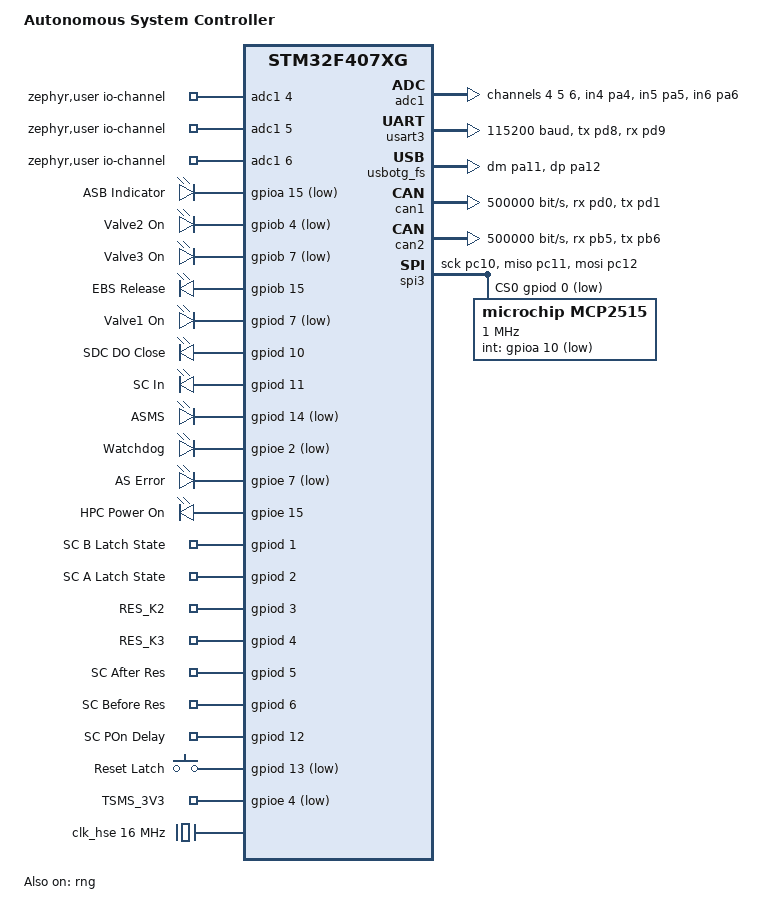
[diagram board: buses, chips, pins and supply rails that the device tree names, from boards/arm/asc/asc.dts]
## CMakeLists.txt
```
# SPDX-License-Identifier: Apache-2.0

cmake_minimum_required(VERSION 3.20.0)

set(BOARD_ROOT ${CMAKE_CURRENT_LIST_DIR})

list(APPEND ZEPHYR_EXTRA_MODULES ${CMAKE_CURRENT_SOURCE_DIR}/modules/libmicroros)

find_package(Zephyr REQUIRED HINTS $ENV{ZEPHYR_BASE})
project(asc)

target_sources(app PRIVATE src/main.c src/functions.c)
```

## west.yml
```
manifest:
  self:
    path: autonomous-system-controller

  remotes:
    - name: zephyrproject-rtos
      url-base: https://github.com/zephyrproject-rtos

  projects:
    - name: zephyr
      remote: zephyrproject-rtos
      revision: 3.2.0
      import: true
```

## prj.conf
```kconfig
CONFIG_GPIO=y
CONFIG_MICROROS=y

CONFIG_MAIN_STACK_SIZE=25000
CONFIG_MAIN_THREAD_PRIORITY=3

CONFIG_NEWLIB_LIBC=y
CONFIG_NEWLIB_LIBC_NANO=n
CONFIG_PTHREAD_IPC=n

CONFIG_POSIX_API=y
CONFIG_APP_LINK_WITH_POSIX_SUBSYS=y
CONFIG_POSIX_CLOCK=y

CONFIG_STDOUT_CONSOLE=y
CONFIG_SERIAL=y
CONFIG_UART_INTERRUPT_DRIVEN=y
CONFIG_UART_LINE_CTRL=y
CONFIG_RING_BUFFER=y


#CAN
CONFIG_POLL=y
CONFIG_CAN=y
CONFIG_CAN_INIT_PRIORITY=80
CONFIG_CAN_STM32=y
CONFIG_CAN_MCP2515=y

#ADC
CONFIG_ADC=y

#CPP for CAN MSG
CONFIG_CPLUSPLUS=y
```

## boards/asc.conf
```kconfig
CONFIG_USB_DEVICE_STACK=y
CONFIG_USB_DEVICE_PRODUCT="ASC"
CONFIG_LOG=y
CONFIG_USB_CDC_ACM=y
CONFIG_USB_DRIVER_LOG_LEVEL_ERR=y
CONFIG_USB_DEVICE_LOG_LEVEL_ERR=y
CONFIG_USB_CDC_ACM_RINGBUF_SIZE=2048

MICROROS_TRANSPORT_SERIAL_USB=y
```

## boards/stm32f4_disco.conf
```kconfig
CONFIG_USB_DEVICE_STACK=y
CONFIG_USB_DEVICE_PRODUCT="ASC"
CONFIG_LOG=y
CONFIG_USB_CDC_ACM=y
CONFIG_USB_DRIVER_LOG_LEVEL_ERR=y
CONFIG_USB_DEVICE_LOG_LEVEL_ERR=y
CONFIG_USB_CDC_ACM_RINGBUF_SIZE=2048

CONFIG_MICROROS_TRANSPORT_SERIAL_USB=y
```

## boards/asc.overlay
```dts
/ {
    aliases {
        uros-serial-port = &usart3;
    };
};

&usart3 {
    status = "okay";
};

zephyr_udc0: &usbotg_fs {
    status = "okay";
};

&zephyr_udc0 {
    cdc_acm_uart0: cdc_acm_uart0 {
            compatible = "zephyr,cdc-acm-uart";
            label = "CDC_ACM_0";
    };
};
```

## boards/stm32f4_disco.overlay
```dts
/ {
    aliases {
        uros-serial-port = &usart2;
    };
};

&usart2 {
    status = "okay";
};

zephyr_udc0: &usbotg_fs {
    status = "okay";
};

&zephyr_udc0 {
    cdc_acm_uart0: cdc_acm_uart0 {
            compatible = "zephyr,cdc-acm-uart";
            label = "CDC_ACM_0";
    };
};
```

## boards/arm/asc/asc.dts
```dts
/*
 * Copyright (c) 2017 Linaro Limited
 *
 * SPDX-License-Identifier: Apache-2.0
 */

/dts-v1/;
#include <st/f4/stm32f407Xg.dtsi>
#include <st/f4/stm32f407v(e-g)tx-pinctrl.dtsi>
#include <zephyr/dt-bindings/adc/adc.h>

/ {
	model = "Autonomous System Controller";
	compatible = "st,asc";

	zephyr,user {
        io-channels = <&adc1 4>, <&adc1 5>, <&adc1 6>;
    };

	chosen {
		zephyr,console = &usart3;
		zephyr,shell-uart = &usart3;
		zephyr,sram = &sram0;
		zephyr,flash = &flash0;
		zephyr,ccm = &ccm0;
	};

	leds {
		compatible = "gpio-leds";
		asb_indicator: asb_indicator {
			gpios = <&gpioa 15 GPIO_ACTIVE_LOW>;
			label = "ASB Indicator";
		};

		valve2_on: valve2_on {
			gpios = <&gpiob 4 GPIO_ACTIVE_LOW>;
			label = "Valve2 On";
		};

		valve3_on: valve3_on {
			gpios = <&gpiob 7 GPIO_ACTIVE_LOW>;
			label = "Valve3 On";
		};

		ebs_release_open: ebs_release_open {
			gpios = <&gpiob 15 GPIO_ACTIVE_HIGH>;
			label = "EBS Release";
		};

		valve1_on: valve1_on {
			gpios = <&gpiod 7 GPIO_ACTIVE_LOW>;
			label = "Valve1 On";
		};

		mcu_as_sdc_close: mcu_as_sdc_close {
			gpios = <&gpiod 10 GPIO_ACTIVE_HIGH>;
			label = "SDC DO Close";
		};

		sc_in: sc_in {
			gpios = <&gpiod 11 GPIO_ACTIVE_HIGH>;
			label = "SC In";
		};

		asms: asms {
			gpios = <&gpiod 14 GPIO_ACTIVE_LOW>;
			label = "ASMS";
		};

		wdi: wdi {
			gpios = <&gpioe 2 GPIO_ACTIVE_LOW>;
			label = "Watchdog";
		};

		mcu_as_error: mcu_as_error {
			gpios = <&gpioe 7 GPIO_ACTIVE_LOW>;
			label = "AS Error";
		};

		hpc_pon: hpc_pon {
			gpios = <&gpioe 15 GPIO_ACTIVE_HIGH>;
			label = "HPC Power On";
		};
	};

	gpio_keys {
		compatible = "gpio-keys";

		sc_b_latch_state: sc_b_latch_state {
			gpios = <&gpiod 1 GPIO_ACTIVE_HIGH>;
			label = "SC B Latch State";
		};

		sc_a_latch_state: sc_a_latch_state {
			gpios = <&gpiod 2 GPIO_ACTIVE_HIGH>;
			label = "SC A Latch State";
		};

		res_k2: res_k2 {
			label = "RES_K2";
			gpios = <&gpiod 3 GPIO_ACTIVE_HIGH>;
		};

		res_k3: res_k3 {
			label = "RES_K3";
			gpios = <&gpiod 4 GPIO_ACTIVE_HIGH>;
		};

		sc_after_res: sc_after_res {
			gpios = <&gpiod 5 GPIO_ACTIVE_HIGH>;
			label = "SC After Res";
		};

		sc_before_res: sc_before_res {
			gpios = <&gpiod 6 GPIO_ACTIVE_HIGH>;
			label = "SC Before Res";
		};

		sc_pon_delay: sc_pon_delay {
			gpios = <&gpiod 12 GPIO_ACTIVE_HIGH>;
			label = "SC POn Delay";
		};

		reset_latch: reset_latch {
			gpios = <&gpiod 13 GPIO_ACTIVE_LOW>;
			label = "Reset Latch";
		};

		tsms: tsms {
			gpios = <&gpioe 4 GPIO_ACTIVE_LOW>;
			label = "TSMS_3V3";
		};
	};
	
	aliases {
		fcan = &can1;
		scan = &can2;
        dlcan = &mcp2515;

		asbindicator = &asb_indicator;
		valve2on = &valve2_on;
		valve3on = &valve3_on;
		ebsreleaseopen = &ebs_release_open;
		valve1on = &valve1_on;
		mcuassdcclose = &mcu_as_sdc_close;
		scin = &sc_in;
		asms = &asms;
		wdi = &wdi;
		hpcpon = &hpc_pon;

		scblatchstate = &sc_b_latch_state;
		scalatchstate = &sc_a_latch_state;
		resk2 = &res_k2;
		resk3 = &res_k3;
		scafterres = &sc_after_res;
		scbeforeres = &sc_before_res;
		scpondelay = &sc_pon_delay;
		resetlatch = &reset_latch;
		tsms = &tsms;
	};
};


&clk_hse {
	clock-frequency = <DT_FREQ_M(16)>;
	status = "okay";
};

&pll {
	div-m = <8>;
	mul-n = <168>;
	div-p = <2>;
	div-q = <7>;
	clocks = <&clk_hse>;
	status = "okay";
};

&rcc {
	clocks = <&pll>;
	clock-frequency = <DT_FREQ_M(168)>;
	ahb-prescaler = <1>;
	apb1-prescaler = <4>;
	apb2-prescaler = <2>;
};

&rng {
	status = "okay";
};

&adc1 {
	#address-cells = <1>;
	#size-cells = <0>;
	status = "okay";
	pinctrl-0 = <&adc1_in4_pa4 &adc1_in5_pa5 &adc1_in6_pa6>;
	pinctrl-names = "default";

	channel@4 {
		reg = <4>;
		zephyr,gain = "ADC_GAIN_1";
		zephyr,reference = "ADC_REF_INTERNAL";
		zephyr,acquisition-time = <ADC_ACQ_TIME_DEFAULT>;
		zephyr,resolution = <8>;
	};

	channel@5 {
       reg = <5>;
       zephyr,gain = "ADC_GAIN_1";
	   zephyr,reference = "ADC_REF_INTERNAL";
	   zephyr,acquisition-time = <ADC_ACQ_TIME_DEFAULT>;
	   zephyr,resolution = <8>;
   };

   channel@6 {
       reg = <6>;
       zephyr,gain = "ADC_GAIN_1";
	   zephyr,reference = "ADC_REF_INTERNAL";
	   zephyr,acquisition-time = <ADC_ACQ_TIME_DEFAULT>;
	   zephyr,resolution = <8>;
   };
};


&usart1 {
	pinctrl-0 = <&usart1_tx_pa9 &usart1_rx_pb7>;
	pinctrl-names = "default";
	current-speed = <115200>;
	status = "disabled";
};

&usart2 {
	pinctrl-0 = <&usart2_tx_pa2 &usart2_rx_pa3>;
	pinctrl-names = "default";
	current-speed = <115200>;
	status = "disabled";
};

&usart3 {
	pinctrl-0 = <&usart3_tx_pd8 &usart3_rx_pd9>;
	pinctrl-names = "default";
	current-speed = <115200>;
	status = "okay";
};

zephyr_udc0: &usbotg_fs {
	pinctrl-0 = <&usb_otg_fs_dm_pa11 &usb_otg_fs_dp_pa12>;
	pinctrl-names = "default";
	status = "okay";
};

&can1 {
	pinctrl-0 = <&can1_rx_pd0 &can1_tx_pd1>;
	pinctrl-names = "default";
	bus-speed = <500000>;
	status = "okay";
};

&can2 {
	pinctrl-0 = <&can2_rx_pb5 &can2_tx_pb6>;
	pinctrl-names = "default";
	bus-speed = <500000>;
	status = "okay";
};

&spi3 {
    pinctrl-0 = <&spi3_sck_pc10
		     &spi3_miso_pc11 &spi3_mosi_pc12>;
	pinctrl-names = "default";
	status = "okay";
	cs-gpios = <&gpiod 0 GPIO_ACTIVE_LOW>;

    mcp2515: can3@0 {
		compatible = "microchip,mcp2515";
		spi-max-frequency = <1000000>;
		int-gpios = <&gpioa 10 GPIO_ACTIVE_LOW>; /* D2 */
		status = "okay";
        label = "MCP2515";
		reg = <0x0>;
		osc-freq = <16000000>;
		bus-speed = <125000>;
		sjw = <1>;
		sample-point = <875>;

		can-transceiver {
			max-bitrate = <1000000>;
		};
	};
};

&mac {
	status = "disabled";
	pinctrl-0 = <&eth_crs_pa0
		     &eth_ref_clk_pa1
			 &eth_mdio_pa2
			 &eth_col_pa3
			 &eth_crs_dv_pa7
			 &eth_rxd2_pb0
			 &eth_rxd3_pb1
			 &eth_pps_out_pb5
			 &eth_txd3_pb8
			 &eth_rx_er_pb10
			 &eth_tx_en_pb11
		     &eth_txd0_pb12
		     &eth_txd1_pb13
			 &eth_mdc_pc1
			 &eth_txd2_pc2
			 &eth_tx_clk_pc3
		     &eth_rxd0_pc4
		     &eth_rxd1_pc5>;
	pinctrl-names = "default";
};
```

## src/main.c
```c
#include "main.h"

/* STATICS */
rcl_publisher_t publisher;
std_msgs__msg__String msg;

int err;
int16_t buf;
struct adc_sequence sequence = {
	.buffer = &buf,
	/* buffer size in bytes, not number of samples */
	.buffer_size = sizeof(buf),
};


const struct device *const fcan = DEVICE_DT_GET(DT_ALIAS(fcan));
const struct device *const scan = DEVICE_DT_GET(DT_ALIAS(scan));
const struct device *const dlcan = DEVICE_DT_GET(DT_ALIAS(dlcan));
struct k_thread rx_thread_data;
k_tid_t rx_tid;



// gpio outputs
const struct gpio_dt_spec asbindicator = GPIO_DT_SPEC_GET(DT_ALIAS(asbindicator), gpios);
const struct gpio_dt_spec valve2on = GPIO_DT_SPEC_GET(DT_ALIAS(valve2on), gpios);
const struct gpio_dt_spec valve3on = GPIO_DT_SPEC_GET(DT_ALIAS(valve3on), gpios);
const struct gpio_dt_spec ebsreleaseopen = GPIO_DT_SPEC_GET(DT_ALIAS(ebsreleaseopen), gpios);
const struct gpio_dt_spec valve1on = GPIO_DT_SPEC_GET(DT_ALIAS(valve1on), gpios);
const struct gpio_dt_spec mcuassdcclose = GPIO_DT_SPEC_GET(DT_ALIAS(mcuassdcclose), gpios);
const struct gpio_dt_spec scin = GPIO_DT_SPEC_GET(DT_ALIAS(scin), gpios);
const struct gpio_dt_spec asms = GPIO_DT_SPEC_GET(DT_ALIAS(asms), gpios);
const struct gpio_dt_spec wdi = GPIO_DT_SPEC_GET(DT_ALIAS(wdi), gpios);
const struct gpio_dt_spec hpcpon = GPIO_DT_SPEC_GET(DT_ALIAS(hpcpon), gpios);

// gpio inputs
const struct gpio_dt_spec scblatchstate = GPIO_DT_SPEC_GET(DT_ALIAS(scblatchstate), gpios);
const struct gpio_dt_spec scalatchstate = GPIO_DT_SPEC_GET(DT_ALIAS(scalatchstate), gpios);
const struct gpio_dt_spec resk2 = GPIO_DT_SPEC_GET(DT_ALIAS(resk2), gpios);
const struct gpio_dt_spec resk3 = GPIO_DT_SPEC_GET(DT_ALIAS(resk3), gpios);
const struct gpio_dt_spec scafterres = GPIO_DT_SPEC_GET(DT_ALIAS(scafterres), gpios);
const struct gpio_dt_spec scbeforeres = GPIO_DT_SPEC_GET(DT_ALIAS(scbeforeres), gpios);
const struct gpio_dt_spec scpondelay = GPIO_DT_SPEC_GET(DT_ALIAS(scpondelay), gpios);
const struct gpio_dt_spec resetlatch = GPIO_DT_SPEC_GET(DT_ALIAS(resetlatch), gpios);
const struct gpio_dt_spec tsms = GPIO_DT_SPEC_GET(DT_ALIAS(tsms), gpios);

// gpio callback data
struct gpio_callback res_k2_cb_data;
struct gpio_callback res_k3_cb_data;


void timer_callback(rcl_timer_t * timer, int64_t last_call_time)
{
	(void) last_call_time;
	if (timer != NULL) {
	    uint16_t ch1 = 0, ch2 = 0, ch3 = 0;

		for (size_t i = 0U; i < ARRAY_SIZE(adc_channels); i++) {

			(void)adc_sequence_init_dt(&adc_channels[i], &sequence);

			err = adc_read(adc_channels[i].dev, &sequence);
			if (err < 0) {
				printk("Could not read (%d)\n", err);
				continue;
			} else {
				//printk("%d\n", buf);
				if(i == 0){
					ch1 = buf;
				}
				if(i == 1){
					ch2 = buf;
				}
				if(i == 2){
					ch3 = buf;
				}
			}
		}
		sprintf(msg.data.data, "CH1 = %d, CH2 = %d, CH3 = %d", ch1, ch2, ch3);
		msg.data.size = strlen(msg.data.data);
		RCSOFTCHECK(rcl_publish(&publisher, &msg, NULL));
	}
}




void main(void)
{
	int ret;
	ret = init(); // Initialze gpio, adc and can
	if (ret < 0) {
		printk("Initialization failed\n");
		return;
	}

	/* BEGIN ros setup BEGIN */
	rmw_uros_set_custom_transport(
		MICRO_ROS_FRAMING_REQUIRED,
		(void *) &default_params,
		zephyr_transport_open,
		zephyr_transport_close,
		zephyr_transport_write,
		zephyr_transport_read
	);

	rcl_allocator_t allocator = rcl_get_default_allocator();
	rclc_support_t support;

	// create init_options
	RCCHECK(rclc_support_init(&support, 0, NULL, &allocator));

	// create node
	rcl_node_t node;
	RCCHECK(rclc_node_init_default(&node, "zephyr_string_publisher", "", &support));

	// create publisher
	RCCHECK(rclc_publisher_init_default(
		&publisher,
		&node,
		ROSIDL_GET_MSG_TYPE_SUPPORT(std_msgs, msg, String),
		"/zephyr_string_publisher"));

	rcl_timer_t timer;
	const unsigned int timer_timeout = 1000;
	RCCHECK(rclc_timer_init_default(
		&timer,
		&support,
		RCL_MS_TO_NS(timer_timeout),
		timer_callback));

	// create executor
	rclc_executor_t executor;
	RCCHECK(rclc_executor_init(&executor, &support.context, 1, &allocator));
	RCCHECK(rclc_executor_add_timer(&executor, &timer));

	msg.data.data = (char * ) malloc(ARRAY_LEN * sizeof(char));
	msg.data.size = 0;
	msg.data.capacity = ARRAY_LEN;
	/* END ros setup END */
	

	while(1){
		rclc_executor_spin(&executor);
	}

	// free resources
	RCCHECK(rcl_publisher_fini(&publisher, &node));
	RCCHECK(rcl_node_fini(&node));
}
```

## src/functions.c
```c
#include "main.h"

CAN_MSGQ_DEFINE(counter_msgq, 2);
K_THREAD_STACK_DEFINE(rx_thread_stack, RX_THREAD_STACK_SIZE);


// can interrupt
void tx_irq_callback(const struct device *dev, int error, void *arg)
{
	char *sender = (char *)arg;

	ARG_UNUSED(dev);

	if (error != 0) {
		printf("Callback! error-code: %d\nSender: %s\n",
		       error, sender);
	}
}

// res interrupt
void res_pressed(const struct device *dev, struct gpio_callback *cb, uint32_t pins)
{
    // Give semaphore to start driving IF at least 5 seconds in AS_READY!
}



void rx_thread(void *arg1, void *arg2, void *arg3)
{
	ARG_UNUSED(arg1);
	ARG_UNUSED(arg2);
	ARG_UNUSED(arg3);
	const struct can_filter my_filter = {
        .id_type = CAN_EXTENDED_IDENTIFIER,
        .rtr = CAN_DATAFRAME,
        .id = 0x1234567,
        .rtr_mask = 1,
        .id_mask = 0
	};
	struct can_frame rx_frame;
	int filter_id;

	filter_id = can_add_rx_filter_msgq(scan, &counter_msgq, &my_filter);
	printf("Counter filter id: %d\n", filter_id);

	while (1) {
		k_msgq_get(&counter_msgq, &rx_frame, K_FOREVER);

		if (rx_frame.dlc != 2U) {
			printf("Wrong data length: %u\n", rx_frame.dlc);
			continue;
		}

		printf("Counter received: %u\n",
		       sys_be16_to_cpu(UNALIGNED_GET((uint16_t *)&rx_frame.data)));
	}
}

int init_can(void)
{
	int ret;

	if (!device_is_ready(scan)) {
		printf("CAN: Device %s not ready.\n", scan->name);
		return -1;
	}
	if (!device_is_ready(fcan)) {
		printf("CAN: Device %s not ready.\n", fcan->name);
		return -1;
	}

    if (!device_is_ready(dlcan)) {
		printf("CAN: Device %s not ready.\n", dlcan->name);
		return -1;
	}

	ret = can_start(fcan);
	if (ret != 0) {
		printf("Error starting CAN controller [%d]", ret);
		return -1;
	}
	ret = can_start(scan);
	if (ret != 0) {
		printf("Error starting CAN controller [%d]", ret);
		return -1;
	}
    ret = can_start(dlcan);
	if (ret != 0) {
		printf("Error starting CAN controller [%d]", ret);
		return -1;
	}

	rx_tid = k_thread_create(&rx_thread_data, rx_thread_stack,
				 K_THREAD_STACK_SIZEOF(rx_thread_stack),
				 rx_thread, NULL, NULL, NULL,
				 RX_THREAD_PRIORITY, 0, K_NO_WAIT);
	if (!rx_tid) {
		printf("ERROR spawning rx thread\n");
	}
}

int init_adc(void)
{
    /* Configure channels individually prior to sampling. */
	for (size_t i = 0U; i < ARRAY_SIZE(adc_channels); i++) {
		if (!device_is_ready(adc_channels[i].dev)) {
			printk("ADC controller device not ready\n");
			return -1;
		}

		err = adc_channel_setup_dt(&adc_channels[i]);
		if (err < 0) {
			printk("Could not setup channel #%d (%d)\n", i, err);
			return -1;
		}
	}
}

int init_gpio(void)
{
    int ret;

    // Outputs
	if (!device_is_ready(asbindicator.port)) { return -1; }
	ret = gpio_pin_configure_dt(&asbindicator, GPIO_OUTPUT_INACTIVE);
	if (ret < 0) { return ret; }

    if (!device_is_ready(valve2on.port)) { return -1; }
	ret = gpio_pin_configure_dt(&valve2on, GPIO_OUTPUT_INACTIVE);
	if (ret < 0) { return ret; }

    if (!device_is_ready(valve3on.port)) { return -1; }
	ret = gpio_pin_configure_dt(&valve3on, GPIO_OUTPUT_INACTIVE);
	if (ret < 0) { return ret; }

    if (!device_is_ready(ebsreleaseopen.port)) { return -1; }
	ret = gpio_pin_configure_dt(&ebsreleaseopen, GPIO_OUTPUT_INACTIVE);
	if (ret < 0) { return ret; }

    if (!device_is_ready(valve1on.port)) { return -1; }
	ret = gpio_pin_configure_dt(&valve1on, GPIO_OUTPUT_INACTIVE);
	if (ret < 0) { return ret; }

    if (!device_is_ready(mcuassdcclose.port)) { return -1; }
	ret = gpio_pin_configure_dt(&mcuassdcclose, GPIO_OUTPUT_INACTIVE);
	if (ret < 0) { return ret; }

    if (!device_is_ready(scin.port)) { return -1; }
	ret = gpio_pin_configure_dt(&scin, GPIO_OUTPUT_INACTIVE);
	if (ret < 0) { return ret; }

    if (!device_is_ready(asms.port)) { return -1; }
	ret = gpio_pin_configure_dt(&asms, GPIO_OUTPUT_INACTIVE);
	if (ret < 0) { return ret; }

    if (!device_is_ready(wdi.port)) { return -1; }
	ret = gpio_pin_configure_dt(&wdi, GPIO_OUTPUT_ACTIVE);
	if (ret < 0) { return ret; }
    
    if (!device_is_ready(hpcpon.port)) { return -1; }
	ret = gpio_pin_configure_dt(&hpcpon, GPIO_OUTPUT_INACTIVE);
	if (ret < 0) { return ret; }


    // Inputs
    if (!device_is_ready(scblatchstate.port)) { return -1; }
	ret = gpio_pin_configure_dt(&scblatchstate, GPIO_INPUT);
	if (ret != 0) { return ret; }

    if (!device_is_ready(scalatchstate.port)) { return -1; }
	ret = gpio_pin_configure_dt(&scalatchstate, GPIO_INPUT);
	if (ret != 0) { return ret; }

    if (!device_is_ready(resk2.port)) { return -1; }
	ret = gpio_pin_configure_dt(&resk2, GPIO_INPUT);
	if (ret != 0) { return ret; }

    if (!device_is_ready(resk3.port)) { return -1; }
	ret = gpio_pin_configure_dt(&resk3, GPIO_INPUT);
	if (ret != 0) { return ret; }

    if (!device_is_ready(scafterres.port)) { return -1; }
	ret = gpio_pin_configure_dt(&scafterres, GPIO_INPUT);
	if (ret != 0) { return ret; }

    if (!device_is_ready(scbeforeres.port)) { return -1; }
	ret = gpio_pin_configure_dt(&scbeforeres, GPIO_INPUT);
	if (ret != 0) { return ret; }

    if (!device_is_ready(scpondelay.port)) { return -1; }
	ret = gpio_pin_configure_dt(&scpondelay, GPIO_INPUT);
	if (ret != 0) { return ret; }

    if (!device_is_ready(resetlatch.port)) { return -1; }
	ret = gpio_pin_configure_dt(&resetlatch, GPIO_INPUT);
	if (ret != 0) { return ret; }

    if (!device_is_ready(tsms.port)) { return -1; }
	ret = gpio_pin_configure_dt(&tsms, GPIO_INPUT);
	if (ret != 0) { return ret; }

    // Interrupts
    gpio_pin_interrupt_configure_dt(&resk2, GPIO_INT_EDGE_TO_ACTIVE);
    gpio_pin_interrupt_configure_dt(&resk3, GPIO_INT_EDGE_TO_ACTIVE);
    gpio_init_callback(&res_k2_cb_data, res_pressed, BIT(resk2.pin));
    gpio_init_callback(&res_k3_cb_data, res_pressed, BIT(resk3.pin));
    gpio_add_callback(resk2.port, &res_k2_cb_data);
    gpio_add_callback(resk2.port, &res_k3_cb_data);
}

int init(void)
{
    int ret;

    ret = init_gpio();
    if (ret < 0) {
		return ret;
	}

    ret = init_can();
    if (ret < 0) {
		return ret;
	}

    ret = init_adc();
    if (ret < 0) {
		return ret;
	}
}
```

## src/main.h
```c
#pragma once

/* INCLUDES */
// uROS
#include <version.h>

#if ZEPHYR_VERSION_CODE >= ZEPHYR_VERSION(3,1,0)
#include <zephyr/zephyr.h>
#include <zephyr/device.h>
#include <zephyr/devicetree.h>
#include <zephyr/drivers/gpio.h>
#include <zephyr/posix/time.h>
#else
#include <zephyr.h>
#include <device.h>
#include <devicetree.h>
#include <drivers/gpio.h>
#include <posix/time.h>
#endif

#include <rcl/rcl.h>
#include <rcl/error_handling.h>
#include <std_msgs/msg/string.h>

#include <rclc/rclc.h>
#include <rclc/executor.h>

#include <rmw_microros/rmw_microros.h>
#include <microros_transports.h>

// can
#include <zephyr/kernel.h>
#include <zephyr/drivers/can.h>
#include <zephyr/sys/byteorder.h>

// adc
#include <inttypes.h>
#include <stddef.h>
#include <stdint.h>
#include <zephyr/drivers/adc.h>




/* DEFINES */
// uROS
#define RCCHECK(fn) { rcl_ret_t temp_rc = fn; if((temp_rc != RCL_RET_OK)){printf("Failed status on line %d: %d. Aborting.\n",__LINE__,(int)temp_rc);for(;;){};}}
#define RCSOFTCHECK(fn) { rcl_ret_t temp_rc = fn; if((temp_rc != RCL_RET_OK)){printf("Failed status on line %d: %d. Continuing.\n",__LINE__,(int)temp_rc);}}

#define ARRAY_LEN 200

// adc
#if !DT_NODE_EXISTS(DT_PATH(zephyr_user)) || \
	!DT_NODE_HAS_PROP(DT_PATH(zephyr_user), io_channels)
#error "No suitable devicetree overlay specified"
#endif

#define DT_SPEC_AND_COMMA(node_id, prop, idx) \
	ADC_DT_SPEC_GET_BY_IDX(node_id, idx),

// can
#define RX_THREAD_STACK_SIZE 2048
#define RX_THREAD_PRIORITY 2
#define SLEEP_TIME K_SECONDS(2)
#define COUNTER_MSG_ID 0x12345



/* FUNCTIONS */
// general
int init(void);

// can
void rx_thread(void *arg1, void *arg2, void *arg3);



/* STATICS */
extern rcl_publisher_t publisher;
extern std_msgs__msg__String msg;

//adc
static const struct adc_dt_spec adc_channels[] = {
	DT_FOREACH_PROP_ELEM(DT_PATH(zephyr_user), io_channels,
			     DT_SPEC_AND_COMMA)
};
extern int err;
extern int16_t buf;
extern struct adc_sequence sequence;

// can
extern const struct device *const fcan;
extern const struct device *const scan;
extern const struct device *const dlcan;
extern struct k_thread rx_thread_data;
extern k_tid_t rx_tid;

// gpio outputs
extern const struct gpio_dt_spec asbindicator;
extern const struct gpio_dt_spec valve2on;
extern const struct gpio_dt_spec valve3on;
extern const struct gpio_dt_spec ebsreleaseopen;
extern const struct gpio_dt_spec valve1on;
extern const struct gpio_dt_spec mcuassdcclose;
extern const struct gpio_dt_spec scin;
extern const struct gpio_dt_spec asms;
extern const struct gpio_dt_spec wdi;
extern const struct gpio_dt_spec hpcpon;

// gpio inputs
extern const struct gpio_dt_spec scblatchstate;
extern const struct gpio_dt_spec scalatchstate;
extern const struct gpio_dt_spec resk2;
extern const struct gpio_dt_spec resk3;
extern const struct gpio_dt_spec scafterres;
extern const struct gpio_dt_spec scbeforeres;
extern const struct gpio_dt_spec scpondelay;
extern const struct gpio_dt_spec resetlatch;
extern const struct gpio_dt_spec tsms;
 
// gpio callback data
extern struct gpio_callback res_k2_cb_data;
extern struct gpio_callback res_k3_cb_data;
```
